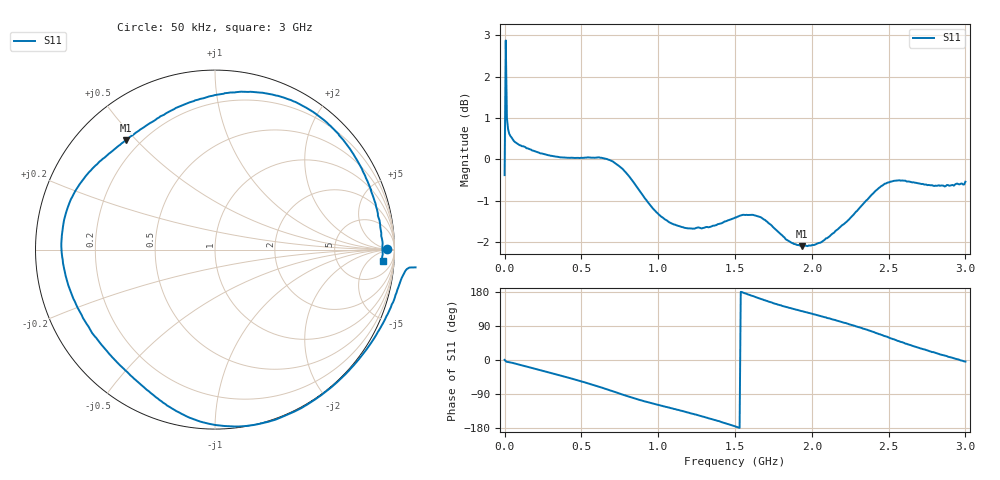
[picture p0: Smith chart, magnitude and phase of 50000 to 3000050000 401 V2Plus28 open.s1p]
! NanoVNA-App
! Date: 2020-11-14 10:24:41
! Start: 50kHz Stop: 3.0001GHz Points: 401
! S-Parameter data: F S11
# Hz S RI R 50
!  Frequency  S11 Real  S11 Imag
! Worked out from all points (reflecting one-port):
!   401 points, 50 kHz to 3 GHz, reference 50 ohm
!   lowest |S11| = -2.1 dB at 1.935 GHz (marker M1), VSWR 8.32, Z = 7.35 + j23.4 ohm
!   phase of S11 starts at 0 deg and turns -364 deg over the sweep
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50000  0.9569 0.00474
2.255e7  1.083 -0.0999
3.005e7  1.068 -0.1088
3.755e7  1.06 -0.1186
2.1755e8  0.9221 -0.4344
3.7505e8  0.7435 -0.6769
4.9505e8  0.5639 -0.8308
6.0005e8  0.3654 -0.9359
6.8255e8  0.178 -0.9822
7.5005e8  0.0226 -0.9796
9.0755e8  -0.2897 -0.8523
1.12505e9  -0.5509 -0.6227
1.33505e9  -0.7479 -0.3557
1.50005e9  -0.8468 -0.0754
1.58255e9  -0.8506 0.1002
1.66505e9  -0.8092 0.265
1.76255e9  -0.6997 0.4339
1.87505e9  -0.5637 0.5563
1.93505e9  -0.4955 0.6092
2.10755e9  -0.2782 0.7555
2.25005e9  -0.051 0.8476
2.36255e9  0.1628 0.8792
2.44505e9  0.3498 0.857
2.53505e9  0.5455 0.7679
2.62505e9  0.7052 0.6218
2.71505e9  0.8099 0.4643
2.82005e9  0.8893 0.2702
3.00005e9  0.9375 -0.0632
